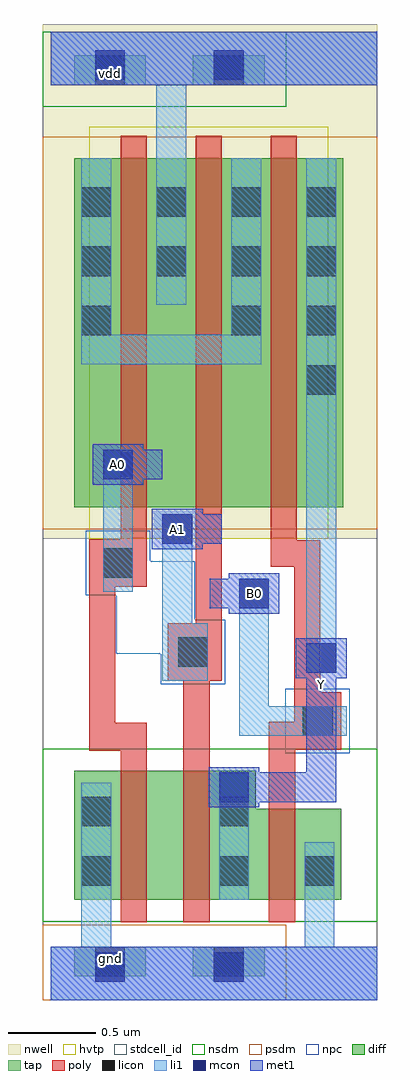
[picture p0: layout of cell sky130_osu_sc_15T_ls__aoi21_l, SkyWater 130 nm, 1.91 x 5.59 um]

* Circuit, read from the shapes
.subckt sky130_osu_sc_15T_ls__aoi21_l A0 A1 B0 Y gnd vdd
XM1 n1 A0 gnd gnd sky130_fd_pr__nfet_01v8 w=0.74 l=0.15
XM2 Y A1 n1 gnd sky130_fd_pr__nfet_01v8 w=0.74 l=0.15
XM3 gnd B0 Y gnd sky130_fd_pr__nfet_01v8 w=0.52 l=0.15
XM4 vdd A0 n2 vdd sky130_fd_pr__pfet_01v8_hvt w=2 l=0.15
XM5 n2 A1 vdd vdd sky130_fd_pr__pfet_01v8_hvt w=2 l=0.15
XM6 Y B0 n2 vdd sky130_fd_pr__pfet_01v8_hvt w=2 l=0.15
.ends

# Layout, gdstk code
import gdstk
lib = gdstk.Library(unit=1e-6, precision=1e-09)
def R(c, l, rs):  # rectangles x0, y0, x1, y1
    for r in rs: c.add(gdstk.rectangle(r[:2], r[2:], *l))
def A(c, l, x, y, w, h, nx, ny, dx, dy):  # array of equal rectangles
    R(c, l, [(x+i*dx, y+j*dy, x+i*dx+w, y+j*dy+h) for i in range(nx) for j in range(ny)])
nwell = (64, 20)
diff = (65, 20)
tap = (65, 44)
poly = (66, 20)
licon = (66, 44)
li1 = (67, 20)
mcon = (67, 44)
met1 = (68, 20)
hvtp = (78, 44)
stdcell_id = (81, 4)
nsdm = (93, 44)
psdm = (94, 20)
npc = (95, 20)

sky130_osu_sc_15t_ls__ao = lib.new_cell('sky130_osu_sc_15T_ls__aoi21_l')
R(sky130_osu_sc_15t_ls__ao, nwell, [(-0.045,2.645,1.87,5.595)])
R(sky130_osu_sc_15t_ls__ao, diff, [(0.135,0.575,1.665,1.095), (0.135,1.095,1.175,1.315), (0.135,2.825,1.675,4.825)])
R(sky130_osu_sc_15t_ls__ao, tap, [(0.135,0.135,0.545,0.305), (0.815,0.135,1.225,0.305), (0.135,5.245,0.545,5.415), (0.815,5.245,1.225,5.415)])
R(sky130_osu_sc_15t_ls__ao, poly, [(0.4,0.445,0.55,1.43), (0.76,0.445,0.91,1.83), (1.25,0.445,1.4,1.435), (0.22,1.43,0.55,1.59), (1.25,1.435,1.665,1.595), (0.22,1.59,0.37,2.37), (1.395,1.595,1.665,1.765), (1.395,1.765,1.545,2.485), (0.67,1.83,0.98,2.16), (0.83,2.16,0.98,4.955), (0.22,2.37,0.55,2.64), (1.26,2.485,1.545,2.635), (1.26,2.635,1.41,4.955), (0.4,2.64,0.55,4.955)])
A(sky130_osu_sc_15t_ls__ao, licon, 0.175, 4.15, 0.17, 0.17, 4, 2, 0.43, 0.34)
R(sky130_osu_sc_15t_ls__ao, licon, [(0.255,0.135,0.425,0.305), (0.935,0.135,1.105,0.305), (0.175,0.655,0.345,0.825), (0.965,0.655,1.135,0.825), (1.455,0.655,1.625,0.825), (0.175,0.995,0.345,1.165), (0.965,0.995,1.135,1.165), (1.445,1.515,1.615,1.685), (0.73,1.91,0.9,2.08), (0.3,2.42,0.47,2.59), (1.465,3.47,1.635,3.64), (0.175,3.81,0.345,3.98), (1.035,3.81,1.205,3.98), (1.465,3.81,1.635,3.98), (0.255,5.245,0.425,5.415), (0.935,5.245,1.105,5.415)])
R(sky130_osu_sc_15t_ls__ao, li1, [(0,0,1.87,0.305), (0.175,0.305,0.345,1.245), (1.455,0.305,1.625,0.905), (0.965,0.575,1.135,1.305), (1.08,1.515,1.695,1.685), (1.08,1.685,1.25,2.415), (0.64,1.83,0.9,2.16), (1.465,1.875,1.635,4.825), (0.64,2.16,0.81,2.785), (0.3,2.34,0.47,3.155), (0.175,3.645,1.205,3.815), (0.175,3.815,0.345,4.825), (1.035,3.815,1.205,4.825), (0.605,3.985,0.775,5.245), (0,5.245,1.87,5.55)])
R(sky130_osu_sc_15t_ls__ao, mcon, [(0.255,0.105,0.425,0.275), (0.935,0.105,1.105,0.275), (0.965,1.135,1.135,1.305), (1.465,1.875,1.635,2.045), (1.08,2.245,1.25,2.415), (0.64,2.615,0.81,2.785), (0.3,2.985,0.47,3.155), (0.255,5.275,0.425,5.445), (0.935,5.275,1.105,5.445)])
R(sky130_osu_sc_15t_ls__ao, met1, [(0,0,1.87,0.305), (0.905,1.105,1.195,1.135), (0.905,1.135,1.635,1.305), (0.905,1.305,1.195,1.335), (1.465,1.305,1.635,1.845), (1.405,1.845,1.695,2.075), (1.02,2.215,1.31,2.245), (0.91,2.245,1.31,2.415), (1.02,2.415,1.31,2.445), (0.58,2.585,0.87,2.615), (0.58,2.615,0.98,2.785), (0.58,2.785,0.87,2.815), (0.24,2.955,0.53,2.985), (0.24,2.985,0.64,3.155), (0.24,3.155,0.53,3.185), (0,5.245,1.87,5.55)])
R(sky130_osu_sc_15t_ls__ao, hvtp, [(0.22,2.645,1.59,5.005)])
R(sky130_osu_sc_15t_ls__ao, stdcell_id, [(-0.045,0,1.87,5.55)])
R(sky130_osu_sc_15t_ls__ao, nsdm, [(-0.045,0.45,1.87,1.44), (-0.045,5.12,1.35,5.55)])
R(sky130_osu_sc_15t_ls__ao, psdm, [(-0.045,0,1.35,0.43), (-0.045,2.7,1.87,4.95)])
R(sky130_osu_sc_15t_ls__ao, npc, [(1.345,1.415,1.715,1.785), (0.63,1.81,1,1.985), (0.375,1.985,1,2.18), (0.375,2.18,0.825,2.32), (0.2,2.32,0.825,2.515), (0.2,2.515,0.57,2.69)])
sky130_osu_sc_15t_ls__ao.add(gdstk.Label('gnd', (0.34,0.24), layer=68, texttype=16))
sky130_osu_sc_15t_ls__ao.add(gdstk.Label('vdd', (0.34,5.31), layer=68, texttype=16))
sky130_osu_sc_15t_ls__ao.add(gdstk.Label('A0', (0.385,3.07), layer=68, texttype=5))
sky130_osu_sc_15t_ls__ao.add(gdstk.Label('B0', (1.165,2.33), layer=68, texttype=5))
sky130_osu_sc_15t_ls__ao.add(gdstk.Label('Y', (1.55,1.81), layer=68, texttype=5))
sky130_osu_sc_15t_ls__ao.add(gdstk.Label('A1', (0.725,2.7), layer=68, texttype=5))

lib.write_gds('sky130_osu_sc_15T_ls__aoi21_l.gds')
